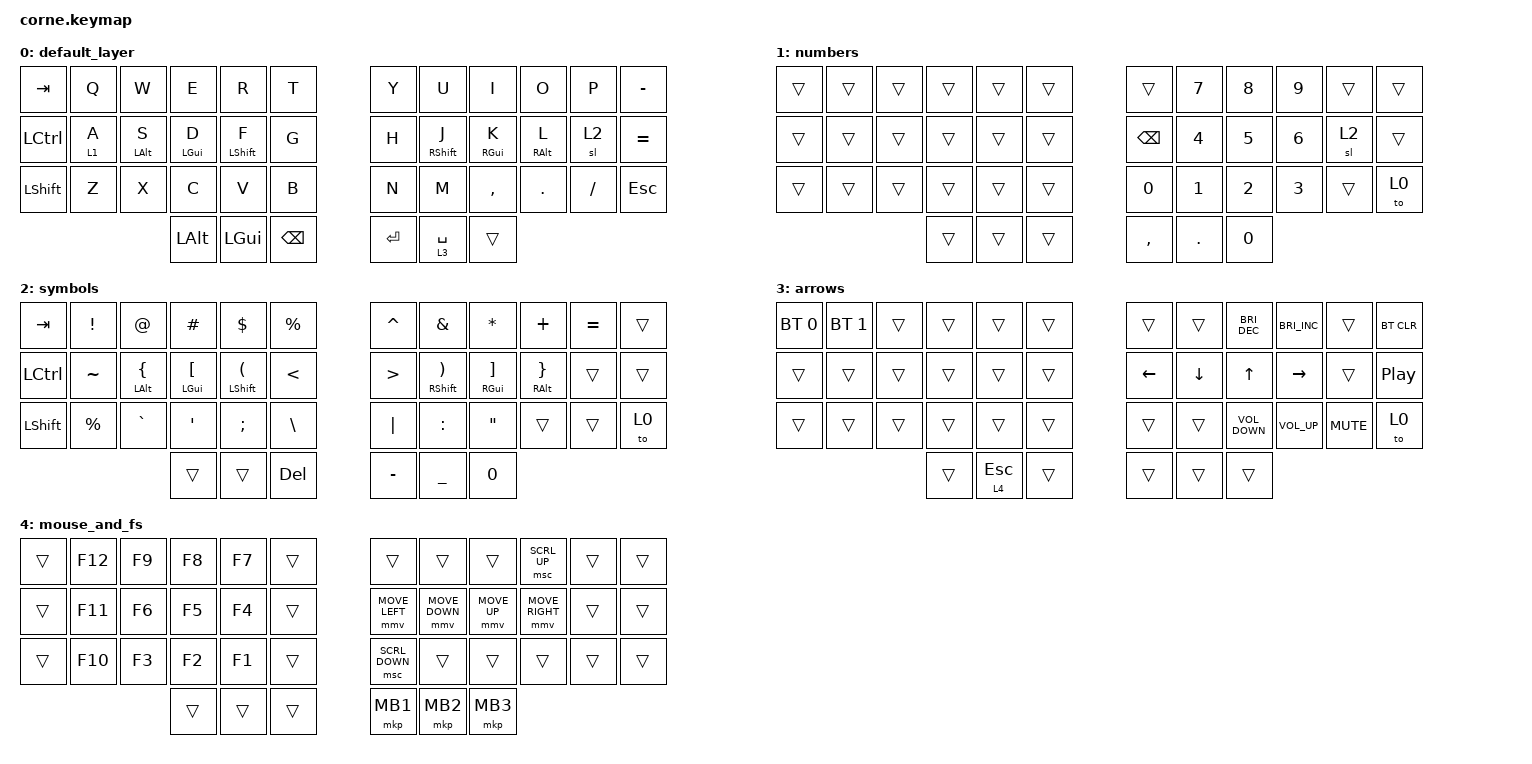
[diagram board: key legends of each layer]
#define ZMK_POINTING_DEFAULT_MOVE_VAL 600  // default: 600
#define ZMK_POINTING_DEFAULT_SCRL_VAL 10    // default: 10

#include <dt-bindings/zmk/behaviors.h>
#include <behaviors.dtsi>
#include <dt-bindings/zmk/bt.h>
#include <dt-bindings/zmk/keys.h>
#include <dt-bindings/zmk/pointing.h>

/ {
    combos {
        compatible = "zmk,combos";

        jk-esc {
            bindings = <&kp ESC>;
            key-positions = <19 20>;
        };

        soft_off {
            bindings = <&soft_off>;
            key-positions = <0 11>;
        };
    };

    behaviors {
        hrml: home_row_mode_left {
            compatible = "zmk,behavior-hold-tap";
            label = "HOME_ROW_MODE_LEFT";
            bindings = <&kp>, <&kp>;

            #binding-cells = <2>;
            hold-trigger-on-release;
            tapping-term-ms = <200>;
            quick-tap-ms = <200>;
            require-prior-idle-ms = <125>;
            flavor = "balanced";
            hold-trigger-key-positions = <19 20 21>;
        };

        hrmr: home_row_mod_right {
            compatible = "zmk,behavior-hold-tap";
            label = "HOME_ROW_MOD_RIGHT";
            bindings = <&kp>, <&kp>;

            #binding-cells = <2>;
            hold-trigger-on-release;
            tapping-term-ms = <200>;
            quick-tap-ms = <200>;
            require-prior-idle-ms = <125>;
            flavor = "balanced";
            hold-trigger-key-positions = <14 15 16>;
        };
    };

    keymap {
        compatible = "zmk,keymap";

        default_layer {
            bindings = <
&kp TAB    &kp Q    &kp W             &kp E         &kp R           &kp T            &kp Y    &kp U                &kp I              &kp O              &kp P     &kp MINUS
&kp LCTRL  &lt 1 A  &hrml LEFT_ALT S  &hrml LGUI D  &hrml LSHIFT F  &kp G            &kp H    &hrmr RIGHT_SHIFT J  &hrmr RIGHT_GUI K  &hrmr RIGHT_ALT L  &sl 2     &kp EQUAL
&kp LSHFT  &kp Z    &kp X             &kp C         &kp V           &kp B            &kp N    &kp M                &kp COMMA          &kp DOT            &kp FSLH  &kp ESC
                                      &kp LEFT_ALT  &kp LEFT_GUI    &kp BACKSPACE    &kp RET  &lt 3 SPACE          &trans
            >;
        };

        numbers {
            bindings = <
&trans  &trans  &trans  &trans  &trans  &trans    &trans         &kp N7      &kp N8  &kp N9  &trans  &trans
&trans  &trans  &trans  &trans  &trans  &trans    &kp BACKSPACE  &kp N4      &kp N5  &kp N6  &sl 2   &trans
&trans  &trans  &trans  &trans  &trans  &trans    &kp N0         &kp N1      &kp N2  &kp N3  &trans  &to 0
                        &trans  &trans  &trans    &kp COMMA      &kp PERIOD  &kp N0
            >;
        };

        symbols {
            bindings = <
&kp TAB    &kp EXCL     &kp AT                     &kp HASH                     &kp DLLR                           &kp PRCNT        &kp CARET         &kp AMPS                             &kp ASTRK                      &kp PLUS                     &kp EQUAL  &trans
&kp LCTRL  &kp TILDE    &hrml LEFT_ALT LEFT_BRACE  &hrml LEFT_GUI LEFT_BRACKET  &hrml LEFT_SHIFT LEFT_PARENTHESIS  &kp LESS_THAN    &kp GREATER_THAN  &hrmr RIGHT_SHIFT RIGHT_PARENTHESIS  &hrmr RIGHT_GUI RIGHT_BRACKET  &hrmr RIGHT_ALT RIGHT_BRACE  &trans     &trans
&kp LSHFT  &kp PERCENT  &kp GRAVE                  &kp SQT                      &kp SEMICOLON                      &kp BACKSLASH    &kp PIPE          &kp COLON                            &kp DOUBLE_QUOTES              &trans                       &trans     &to 0
                                                   &trans                       &trans                             &kp DEL          &kp MINUS         &kp UNDERSCORE                       &kp NUMBER_0
            >;
        };

        arrows {
            bindings = <
&bt BT_SEL 0  &bt BT_SEL 1  &trans  &trans  &trans     &trans    &trans    &trans    &kp C_BRIGHTNESS_DEC  &kp C_BRIGHTNESS_INC  &trans      &bt BT_CLR
&trans        &trans        &trans  &trans  &trans     &trans    &kp LEFT  &kp DOWN  &kp UP                &kp RIGHT             &trans      &kp C_PLAY_PAUSE
&trans        &trans        &trans  &trans  &trans     &trans    &trans    &trans    &kp C_VOLUME_DOWN     &kp C_VOLUME_UP       &kp C_MUTE  &to 0
                                    &trans  &lt 4 ESC  &trans    &trans    &trans    &trans
            >;
        };

        mouse_and_fs {
            bindings = <
&trans  &kp F12  &kp F9  &kp F8  &kp F7  &trans    &trans          &trans          &trans        &msc SCRL_UP     &trans  &trans
&trans  &kp F11  &kp F6  &kp F5  &kp F4  &trans    &mmv MOVE_LEFT  &mmv MOVE_DOWN  &mmv MOVE_UP  &mmv MOVE_RIGHT  &trans  &trans
&trans  &kp F10  &kp F3  &kp F2  &kp F1  &trans    &msc SCRL_DOWN  &trans          &trans        &trans           &trans  &trans
                         &trans  &trans  &trans    &mkp MB1        &mkp MB2        &mkp MB3
            >;
        };
    };
};
